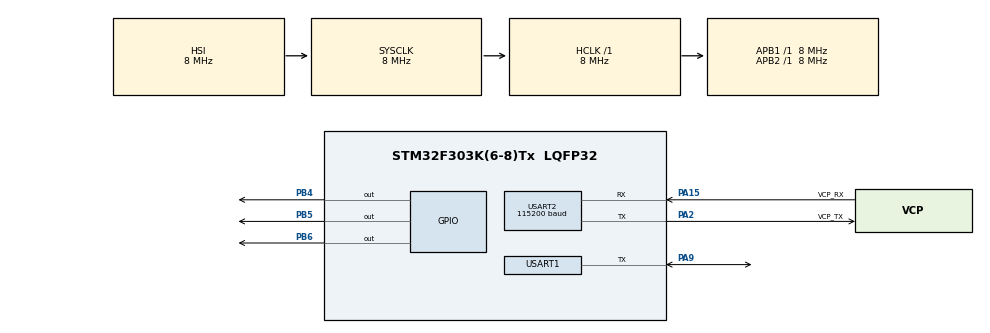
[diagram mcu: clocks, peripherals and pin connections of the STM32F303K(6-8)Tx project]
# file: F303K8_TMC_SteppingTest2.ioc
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Mcu.Family=STM32F3
Mcu.Name=STM32F303K(6-8)Tx
Mcu.Package=LQFP32
NVIC.PriorityGroup=NVIC_PRIORITYGROUP_4
NVIC.USART2_IRQn=true\:0\:0\:false\:false\:true\:true\:true\:true
PA13.GPIO_Label=SWDIO
PA13.Mode=Serial_Wire
PA13.Signal=SYS_JTMS-SWDIO
PA14.GPIO_Label=SWCLK
PA14.Mode=Serial_Wire
PA14.Signal=SYS_JTCK-SWCLK
PA15.GPIO_Label=VCP_RX
PA15.Mode=Asynchronous
PA15.Signal=USART2_RX
PA2.GPIO_Label=VCP_TX
PA2.Mode=Asynchronous
PA2.Signal=USART2_TX
PA9.Mode=Half_duplex(single_wire_mode)
PA9.Signal=USART1_TX
PB4.Signal=GPIO_Output
PB5.Signal=GPIO_Output
PB6.Signal=GPIO_Output
PF0\ /\ OSC_IN.GPIO_Label=MCO
PF0\ /\ OSC_IN.Mode=HSE-External-Clock-Source
PF0\ /\ OSC_IN.Signal=RCC_OSC_IN
ProjectManager.HeapSize=0x200
ProjectManager.StackSize=0x400
ProjectManager.TargetToolchain=STM32CubeIDE
RCC.AHBFreq_Value=8000000
RCC.APB1Freq_Value=8000000
RCC.APB2Freq_Value=8000000
RCC.CortexFreq_Value=8000000
RCC.HSE_VALUE=8000000
RCC.HSI_VALUE=8000000
RCC.SYSCLKFreq_VALUE=8000000
USART1.BaudRate=115200
USART1.VirtualMode-Half_duplex(single_wire_mode)=VM_ASYNC
USART2.BaudRate=115200
USART2.VirtualMode-Asynchronous=VM_ASYNC
VP_TIM3_VS_ClockSourceINT.Mode=Internal
board=NUCLEO-F303K8

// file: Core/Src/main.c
/* USER CODE BEGIN Header */
/**
  ******************************************************************************
  * @file           : main.c
  * @brief          : Main program body
  ******************************************************************************
  * @attention
  *
  * Copyright (c) 2022 STMicroelectronics.
  * All rights reserved.
  *
  * This software is licensed under terms that can be found in the LICENSE file
  * in the root directory of this software component.
  * If no LICENSE file comes with this software, it is provided AS-IS.
  *
  ******************************************************************************
  */
/* USER CODE END Header */
#include "main.h"

/* USER CODE BEGIN Includes */
#include <stdio.h>
//#include "TMC2209.h"
#include"tmc/ic/TMC2209/TMC2209.h"
//#include"tmc/StepDir.h"
/* USER CODE END Includes */

/* USER CODE BEGIN PD */
#define TMC2209_CRC(data, length) tmc_CRC8(data, length, 1)

/* USER CODE END PD */

 TIM_HandleTypeDef htim3;

UART_HandleTypeDef huart1;
UART_HandleTypeDef huart2;

/* USER CODE BEGIN PV */
//static TMC2209TypeDef TMC2209; //TMC2209の設定などの定義
//static ConfigurationTypeDef *TMC2209_config; //TMC2209の設定
TMC2209TypeDef TMC2209; //TMC2209の設定などの定義
ConfigurationTypeDef TMC2209_config; //TMC2209の設定
/* USER CODE END PV */

void SystemClock_Config(void);
static void MX_GPIO_Init(void);
static void MX_USART2_UART_Init(void);
static void MX_USART1_UART_Init(void);
static void MX_TIM3_Init(void);
/* USER CODE BEGIN PFP */
static void periodicJob(uint32_t tick);
static uint8_t reset(void);
static uint8_t restore(void);
void TMC2209_INIT(void);

/* USER CODE END PFP */

/* USER CODE BEGIN 0 */
void tmc2209_readWriteArray(uint8_t channel, uint8_t *data, size_t writeLength, size_t readLength)
{
	//set your uart read write
	//UART_readWrite(channelToUART(channel), data, writeLength, readLength);
	HAL_HalfDuplex_EnableTransmitter(&huart1);
	HAL_UART_Transmit(&huart1, data, writeLength,3000);

	if(readLength > 0){
		HAL_HalfDuplex_EnableReceiver(&huart1);
		HAL_UART_Receive(&huart1, data, readLength, 3000);
	}
}

uint8_t tmc2209_CRC8(uint8_t *data, size_t length)
{
	return TMC2209_CRC(data, length);
}

static void periodicJob(uint32_t tick)
{

	tmc2209_periodicJob(&TMC2209, tick);

	//StepDir_periodicJob(0);
}

static uint8_t reset()
{
	//StepDir_init(STEPDIR_PRECISION);
	//StepDir_setPins(0, Pins.STEP, Pins.DIR, Pins.DIAG);
	return tmc2209_reset(&TMC2209);
}

static uint8_t restore()
{
	return tmc2209_restore(&TMC2209);
}

void TMC2209_INIT()
{
	tmc_fillCRC8Table(0x07, true, 1);

	TMC2209_config.reset = reset;
	TMC2209_config.restore = restore;
	tmc2209_init(&TMC2209, 0, 0, &TMC2209_config, &tmc2209_defaultRegisterResetState[0]);

	//restore();
}

/* USER CODE END 0 */

int main(void)
{
  /* USER CODE BEGIN 1 */
	setbuf(stdout, NULL);

  /* USER CODE END 1 */

  /* MCU Configuration--------------------------------------------------------*/

  /* Reset of all peripherals, Initializes the Flash interface and the Systick. */
  HAL_Init();

  /* Configure the system clock */
  SystemClock_Config();

  /* Initialize all configured peripherals */
  MX_GPIO_Init();
  MX_USART2_UART_Init();
  MX_USART1_UART_Init();
  MX_TIM3_Init();
  /* USER CODE BEGIN 2 */
  //int getserial=0;
  TMC2209_INIT();
  printf("Hello\r\n");
  //printf("Start \r\n");

  //uint8_t rxbuf[1];

  /* USER CODE END 2 */

  /* Infinite loop */
  while (1)
  {

    /* USER CODE BEGIN 3 */
	  //example read register value
	  uint32_t value = 0;
	  value = tmc2209_readInt(&TMC2209, TMC2209_FACTORY_CONF);
	  //printf("Hello\r\n");
	  //printf("Goodbye\r\n");
	  //periodicJob(HAL_GetTick());
	  //HAL_UART_Transmit(&huart2,(uint8_t *)value,sizeof(value),3000);
	  printf("FACTORY_CONF: %ld\r\n", value);
	  //HAL_UART_Transmit(&huart2,(uint8_t *)value,sizeof(value),3000);
	  //getserial=value;

	  value = tmc2209_readInt(&TMC2209, TMC2209_SG_RESULT);
	  //periodicJob(HAL_GetTick());
	  //tmc2209_writeInt(&TMC2209, );
	  printf("SG_RESULT: %ld\r\n", value);

	  value = tmc2209_readInt(&TMC2209, TMC2209_DRVSTATUS);
	  printf("SG_RESULT: %ld\r\n", value);

	  HAL_Delay(1000);

  }

  /* USER CODE END 3 */
}

void SystemClock_Config(void)
{
  RCC_OscInitTypeDef RCC_OscInitStruct = {0};
  RCC_ClkInitTypeDef RCC_ClkInitStruct = {0};
  RCC_PeriphCLKInitTypeDef PeriphClkInit = {0};

  /** Initializes the RCC Oscillators according to the specified parameters
  * in the RCC_OscInitTypeDef structure.
  */
  RCC_OscInitStruct.OscillatorType = RCC_OSCILLATORTYPE_HSI;
  RCC_OscInitStruct.HSIState = RCC_HSI_ON;
  RCC_OscInitStruct.HSICalibrationValue = RCC_HSICALIBRATION_DEFAULT;
  RCC_OscInitStruct.PLL.PLLState = RCC_PLL_NONE;
  if (HAL_RCC_OscConfig(&RCC_OscInitStruct) != HAL_OK)
  {
    Error_Handler();
  }

  /** Initializes the CPU, AHB and APB buses clocks
  */
  RCC_ClkInitStruct.ClockType = RCC_CLOCKTYPE_HCLK|RCC_CLOCKTYPE_SYSCLK
                              |RCC_CLOCKTYPE_PCLK1|RCC_CLOCKTYPE_PCLK2;
  RCC_ClkInitStruct.SYSCLKSource = RCC_SYSCLKSOURCE_HSI;
  RCC_ClkInitStruct.AHBCLKDivider = RCC_SYSCLK_DIV1;
  RCC_ClkInitStruct.APB1CLKDivider = RCC_HCLK_DIV1;
  RCC_ClkInitStruct.APB2CLKDivider = RCC_HCLK_DIV1;

  if (HAL_RCC_ClockConfig(&RCC_ClkInitStruct, FLASH_LATENCY_0) != HAL_OK)
  {
    Error_Handler();
  }
  PeriphClkInit.PeriphClockSelection = RCC_PERIPHCLK_USART1;
  PeriphClkInit.Usart1ClockSelection = RCC_USART1CLKSOURCE_PCLK1;
  if (HAL_RCCEx_PeriphCLKConfig(&PeriphClkInit) != HAL_OK)
  {
    Error_Handler();
  }
}

static void MX_TIM3_Init(void)
{

  TIM_ClockConfigTypeDef sClockSourceConfig = {0};
  TIM_MasterConfigTypeDef sMasterConfig = {0};

  htim3.Instance = TIM3;
  htim3.Init.Prescaler = 0;
  htim3.Init.CounterMode = TIM_COUNTERMODE_UP;
  htim3.Init.Period = 65535;
  htim3.Init.ClockDivision = TIM_CLOCKDIVISION_DIV1;
  htim3.Init.AutoReloadPreload = TIM_AUTORELOAD_PRELOAD_DISABLE;
  if (HAL_TIM_Base_Init(&htim3) != HAL_OK)
  {
    Error_Handler();
  }
  sClockSourceConfig.ClockSource = TIM_CLOCKSOURCE_INTERNAL;
  if (HAL_TIM_ConfigClockSource(&htim3, &sClockSourceConfig) != HAL_OK)
  {
    Error_Handler();
  }
  sMasterConfig.MasterOutputTrigger = TIM_TRGO_RESET;
  sMasterConfig.MasterSlaveMode = TIM_MASTERSLAVEMODE_DISABLE;
  if (HAL_TIMEx_MasterConfigSynchronization(&htim3, &sMasterConfig) != HAL_OK)
  {
    Error_Handler();
  }

}

static void MX_USART1_UART_Init(void)
{

  huart1.Instance = USART1;
  huart1.Init.BaudRate = 115200;
  huart1.Init.WordLength = UART_WORDLENGTH_8B;
  huart1.Init.StopBits = UART_STOPBITS_1;
  huart1.Init.Parity = UART_PARITY_NONE;
  huart1.Init.Mode = UART_MODE_TX_RX;
  huart1.Init.HwFlowCtl = UART_HWCONTROL_NONE;
  huart1.Init.OverSampling = UART_OVERSAMPLING_16;
  huart1.Init.OneBitSampling = UART_ONE_BIT_SAMPLE_DISABLE;
  huart1.AdvancedInit.AdvFeatureInit = UART_ADVFEATURE_NO_INIT;
  if (HAL_HalfDuplex_Init(&huart1) != HAL_OK)
  {
    Error_Handler();
  }

}

static void MX_USART2_UART_Init(void)
{

  huart2.Instance = USART2;
  huart2.Init.BaudRate = 115200;
  huart2.Init.WordLength = UART_WORDLENGTH_8B;
  huart2.Init.StopBits = UART_STOPBITS_1;
  huart2.Init.Parity = UART_PARITY_NONE;
  huart2.Init.Mode = UART_MODE_TX_RX;
  huart2.Init.HwFlowCtl = UART_HWCONTROL_NONE;
  huart2.Init.OverSampling = UART_OVERSAMPLING_16;
  huart2.Init.OneBitSampling = UART_ONE_BIT_SAMPLE_DISABLE;
  huart2.AdvancedInit.AdvFeatureInit = UART_ADVFEATURE_NO_INIT;
  if (HAL_UART_Init(&huart2) != HAL_OK)
  {
    Error_Handler();
  }

}

static void MX_GPIO_Init(void)
{
  GPIO_InitTypeDef GPIO_InitStruct = {0};

  /* GPIO Ports Clock Enable */
  __HAL_RCC_GPIOF_CLK_ENABLE();
  __HAL_RCC_GPIOA_CLK_ENABLE();
  __HAL_RCC_GPIOB_CLK_ENABLE();

  /*Configure GPIO pin Output Level */
  HAL_GPIO_WritePin(GPIOB, GPIO_PIN_4|GPIO_PIN_5|GPIO_PIN_6, GPIO_PIN_RESET);

  /*Configure GPIO pins : PB4 PB5 PB6 */
  GPIO_InitStruct.Pin = GPIO_PIN_4|GPIO_PIN_5|GPIO_PIN_6;
  GPIO_InitStruct.Mode = GPIO_MODE_OUTPUT_PP;
  GPIO_InitStruct.Pull = GPIO_NOPULL;
  GPIO_InitStruct.Speed = GPIO_SPEED_FREQ_LOW;
  HAL_GPIO_Init(GPIOB, &GPIO_InitStruct);

}

/* USER CODE BEGIN 4 */
int _write(int file, char *ptr, int len)
{
  HAL_UART_Transmit(&huart2,(uint8_t *)ptr,len,10);
  return len;
}

//int _write(int file, char *ptr, int len)
//{
//  int DataIdx;
//  for(DataIdx=0; DataIdx<len; DataIdx++)
//  {
//    ITM_SendChar(*ptr++);
//  }
//  return len;
//}

/* USER CODE END 4 */

void Error_Handler(void)
{
  __disable_irq();
  while (1)
  {
  }
}
